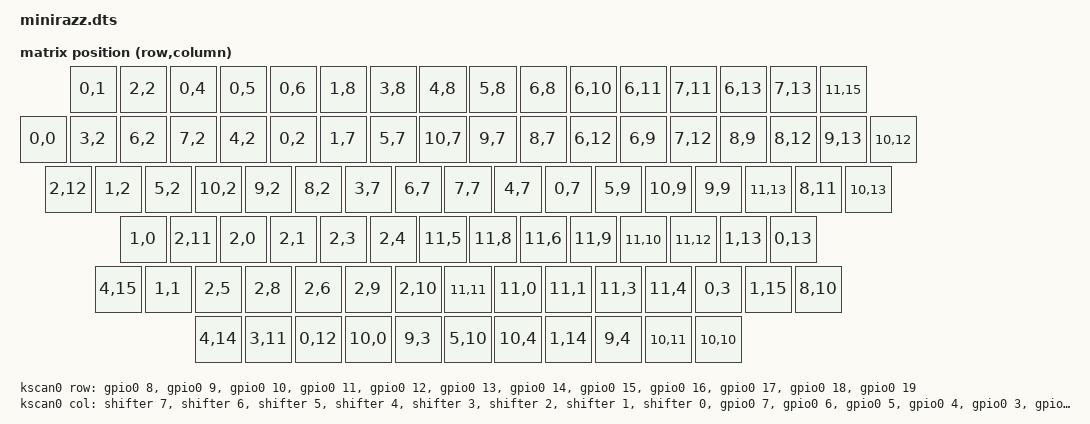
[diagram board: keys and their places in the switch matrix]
/*
 * Copyright (c) 2021-2023 Yonatan Schachter, Andrei Purdea
 *
 * SPDX-License-Identifier: Apache-2.0
 */

/dts-v1/;

#include <rpi_pico/rp2040.dtsi>
#include <freq.h>
#include <dt-bindings/pinctrl/rpi-pico-rp2040-pinctrl.h>
#include <dt-bindings/zmk/matrix_transform.h>

&pinctrl {
	spi1_default: spi1_default {
		group1 {
			pinmux = <SPI1_SCK_P26>;
		};
		group2 {
			pinmux = <SPI1_RX_P24>;
			input-enable;
		};
	};
};

/ {
	led_indicators {
		compatible = "gpio-leds";
		label = "LED indicators";

		led_numlock: led_numlock {
			gpios = <&gpio0 22 GPIO_ACTIVE_LOW>;
				label = "Num lock LED";
		};
		led_capslock: led_capslock {
			gpios = <&gpio0 21 GPIO_ACTIVE_LOW>;
				label = "Caps lock LED";
		};
		led_scrolllock: led_scrolllock {
			gpios = <&gpio0 20 GPIO_ACTIVE_LOW>;
				label = "Scroll lock LED";
		};
	};
	chosen {
		zephyr,sram = &sram0;
		zephyr,flash = &flash0;
		zephyr,console = &cdc_acm_uart;
		zephyr,code-partition = &code_partition;
		zmk,kscan = &kscan1;
		zmk,matrix_transform = &default_transform;
		zmk,led-capslock = &led_capslock;
		zmk,led-numlock = &led_numlock;
		zmk,led-scrolllock = &led_scrolllock;
	};
	xtal_clk: xtal-clk {
		compatible = "fixed-clock";
		clock-frequency = <12000000>;
		#clock-cells = <0>;
	};
	default_transform: keymap_transform_0 {
		compatible = "zmk,matrix-transform";
		columns = <16>;
		rows = <12>;
		map = <
RC(0,1)      RC(2,2) RC(0,4) RC(0,5) RC(0,6)      RC(1,8) RC(3,8) RC(4,8) RC(5,8)      RC(6,8) RC(6,10) RC(6,11) RC(7,11)       RC(6,13)  RC(7,13)  RC(11,15)

RC(0,0) RC(3,2) RC(6,2) RC(7,2) RC(4,2) RC(0,2) RC(1,7) RC(5,7) RC(10,7) RC(9,7) RC(8,7) RC(6,12) RC(6,9) RC(7,12) RC(8,9)      RC(8,12)  RC(9,13)  RC(10,12)
RC(2,12)   RC(1,2) RC(5,2) RC(10,2) RC(9,2) RC(8,2) RC(3,7) RC(6,7) RC(7,7) RC(4,7) RC(0,7) RC(5,9) RC(10,9) RC(9,9)            RC(11,13) RC(8,11)  RC(10,13)
RC(1,0)      RC(2,11) RC(2,0) RC(2,1) RC(2,3) RC(2,4) RC(11,5) RC(11,8) RC(11,6) RC(11,9) RC(11,10) RC(11,12) RC(1,13) RC(0,13)
RC(4,15) RC(1,1) RC(2,5) RC(2,8) RC(2,6) RC(2,9) RC(2,10) RC(11,11) RC(11,0) RC(11,1) RC(11,3) RC(11,4) RC(0,3) RC(1,15)                  RC(8,10)
RC(4,14) RC(3,11) RC(0,12)                             RC(10,0)                         RC(9,3) RC(5,10) RC(10,4) RC(1,14)      RC(9,4)   RC(10,11) RC(10,10)
		>;
	};
	kscan1: kscan_deghost1 {
		compatible = "zmk,kscan-deghost";
		kscan = <&kscan0>;
		transform = <&default_transform>;
	};
	kscan0: kscan {
		compatible = "zmk,kscan-gpio-matrix";
		diode-direction = "row2col";
		poll-period-ms = <1>;
		row-gpios
			= <&gpio0  8 (GPIO_ACTIVE_LOW | GPIO_PULL_UP | GPIO_OPEN_DRAIN)>
			, <&gpio0  9 (GPIO_ACTIVE_LOW | GPIO_PULL_UP | GPIO_OPEN_DRAIN)>
			, <&gpio0 10 (GPIO_ACTIVE_LOW | GPIO_PULL_UP | GPIO_OPEN_DRAIN)>
			, <&gpio0 11 (GPIO_ACTIVE_LOW | GPIO_PULL_UP | GPIO_OPEN_DRAIN)>
			, <&gpio0 12 (GPIO_ACTIVE_LOW | GPIO_PULL_UP | GPIO_OPEN_DRAIN)>
			, <&gpio0 13 (GPIO_ACTIVE_LOW | GPIO_PULL_UP | GPIO_OPEN_DRAIN)>
			, <&gpio0 14 (GPIO_ACTIVE_LOW | GPIO_PULL_UP | GPIO_OPEN_DRAIN)>
			, <&gpio0 15 (GPIO_ACTIVE_LOW | GPIO_PULL_UP | GPIO_OPEN_DRAIN)>
			, <&gpio0 16 (GPIO_ACTIVE_LOW | GPIO_PULL_UP | GPIO_OPEN_DRAIN)>
			, <&gpio0 17 (GPIO_ACTIVE_LOW | GPIO_PULL_UP | GPIO_OPEN_DRAIN)>
			, <&gpio0 18 (GPIO_ACTIVE_LOW | GPIO_PULL_UP | GPIO_OPEN_DRAIN)>
			, <&gpio0 19 (GPIO_ACTIVE_LOW | GPIO_PULL_UP | GPIO_OPEN_DRAIN)>
			;
		col-gpios
			= <&shifter 7 GPIO_ACTIVE_LOW>
			, <&shifter 6 GPIO_ACTIVE_LOW>
			, <&shifter 5 GPIO_ACTIVE_LOW>
			, <&shifter 4 GPIO_ACTIVE_LOW>
			, <&shifter 3 GPIO_ACTIVE_LOW>
			, <&shifter 2 GPIO_ACTIVE_LOW>
			, <&shifter 1 GPIO_ACTIVE_LOW>
			, <&shifter 0 GPIO_ACTIVE_LOW>
			, <&gpio0  7 (GPIO_ACTIVE_LOW | GPIO_PULL_UP)>
			, <&gpio0  6 (GPIO_ACTIVE_LOW | GPIO_PULL_UP)>
			, <&gpio0  5 (GPIO_ACTIVE_LOW | GPIO_PULL_UP)>
			, <&gpio0  4 (GPIO_ACTIVE_LOW | GPIO_PULL_UP)>
			, <&gpio0  3 (GPIO_ACTIVE_LOW | GPIO_PULL_UP)>
			, <&gpio0  2 (GPIO_ACTIVE_LOW | GPIO_PULL_UP)>
			, <&gpio0  1 (GPIO_ACTIVE_LOW | GPIO_PULL_UP)>
			, <&gpio0  0 (GPIO_ACTIVE_LOW | GPIO_PULL_UP)>
			;
	};
};

&flash0 {
	/* 16MB of flash minus the 0x100 used for
	 * the second stage bootloader
	 */
	reg = <0x10000000 DT_SIZE_M(16)>;

	partitions {
		compatible = "fixed-partitions";
		#address-cells = <1>;
		#size-cells = <1>;

		/* Reserved memory for the second stage bootloader */
		second_stage_bootloader: partition@0 {
			label = "second_stage_bootloader";
			reg = <0x00000000 0x100>;
			read-only;
		};


		/*
		 * Usable flash. Starts at 0x100, after the bootloader. The partition
		 * size is 16MB minus the 0x100 bytes taken by the bootloader.
		 */
		code_partition: partition@100 {
			label = "code-partition";
			reg = <0x100 (DT_SIZE_M(16) - 0x100)>;
			read-only;
		};
	};
};

&spi1 {
	status = "okay";
	pinctrl-0 = <&spi1_default>;
	pinctrl-names = "default";
	clock-frequency = <DT_FREQ_M(5)>;
	cs-gpios = <&gpio0 27 (GPIO_ACTIVE_HIGH)>;
	shifter: 165@0 {
		compatible = "zmk,gpio-165";
		status = "okay";
		gpio-controller;
		#gpio-cells = <2>;
		ngpios = <8>;
		label = "74HC165";
		reg = <0>;
		spi-max-frequency = <5000000>;
		//load-gpios = <&gpio0  27 (GPIO_ACTIVE_HIGH)>;
	};
};

&gpio0 {
	status = "okay";
};

zephyr_udc0: &usbd {
	status = "okay";
	cdc_acm_uart: cdc_acm_uart {
		compatible = "zephyr,cdc-acm-uart";
		label = "CDC_ACM_0";
	};
};
